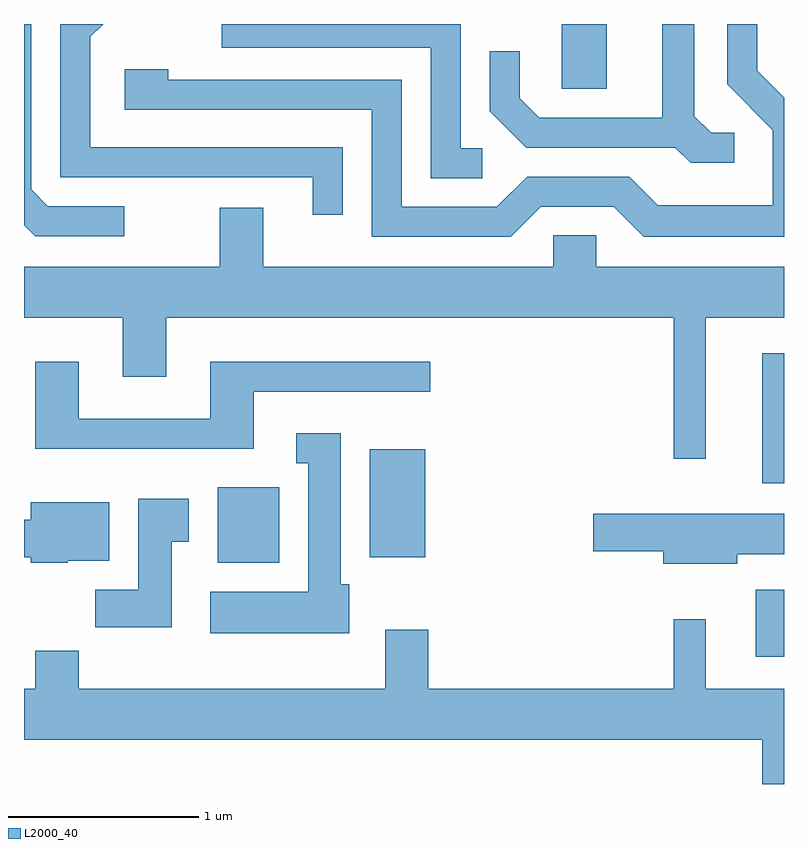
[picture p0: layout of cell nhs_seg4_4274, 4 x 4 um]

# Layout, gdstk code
import gdstk
lib = gdstk.Library(unit=1e-6, precision=1e-09)
def R(c, l, rs):  # rectangles x0, y0, x1, y1
    for r in rs: c.add(gdstk.rectangle(r[:2], r[2:], *l))
def P(c, l, *ps):  # polygons
    for p in ps: c.add(gdstk.Polygon(p, *l))
L2000_40 = (2000, 40)

nhs_seg4_4274 = lib.new_cell('nhs_seg4_4274')
R(nhs_seg4_4274, L2000_40, [(313.461,1370.651,313.611,1371.004), (310.631,1371.146,310.954,1371.544), (311.431,1371.176,311.724,1371.744), (313.496,1371.566,313.611,1372.248), (312.441,1373.641,312.679,1373.982)])
P(nhs_seg4_4274, L2000_40, [(312.023,1373.329),(311.909,1373.329),(311.909,1373.982),(310.653,1373.982),(310.653,1373.856),(311.751,1373.856),(311.751,1373.171),(312.023,1373.171)],
  [(312.332,1373.021),(312.714,1373.021),(312.874,1372.861),(313.611,1372.861),(313.611,1373.595),(313.469,1373.737),(313.469,1373.982),(313.311,1373.982),(313.311,1373.664),(313.551,1373.424),(313.551,1373.029),(312.947,1373.029),(312.797,1373.179),(312.259,1373.179),(312.099,1373.019),(311.599,1373.019),(311.599,1373.689),(310.369,1373.689),(310.369,1373.744),(310.141,1373.744),(310.141,1373.531),(311.441,1373.531),(311.441,1372.861),(312.172,1372.861)],
  [(310.138,1373.024),(309.737,1373.024),(309.649,1373.112),(309.649,1373.982),(309.611,1373.982),(309.611,1372.924),(309.669,1372.866),(310.138,1372.866)],
  [(311.289,1373.334),(309.959,1373.334),(309.959,1373.914),(310.028,1373.982),(309.801,1373.982),(309.801,1373.176),(311.131,1373.176),(311.131,1372.978),(311.289,1372.978)],
  [(313.348,1373.409),(313.227,1373.409),(313.139,1373.497),(313.139,1373.982),(312.971,1373.982),(312.971,1373.489),(312.322,1373.489),(312.219,1373.592),(312.219,1373.838),(312.061,1373.838),(312.061,1373.524),(312.254,1373.331),(313.039,1373.331),(313.119,1373.251),(313.348,1373.251)],
  [(313.199,1372.436),(313.611,1372.436),(313.611,1372.704),(312.624,1372.704),(312.624,1372.869),(312.396,1372.869),(312.396,1372.704),(310.869,1372.704),(310.869,1373.014),(310.641,1373.014),(310.641,1372.704),(309.611,1372.704),(309.611,1372.436),(310.131,1372.436),(310.131,1372.126),(310.359,1372.126),(310.359,1372.436),(313.031,1372.436),(313.031,1371.693),(313.199,1371.693)],
  [(310.819,1372.046),(311.748,1372.046),(311.748,1372.204),(310.591,1372.204),(310.591,1371.904),(309.899,1371.904),(309.899,1372.204),(309.671,1372.204),(309.671,1371.746),(310.819,1371.746)],
  [(311.324,1371.034),(311.279,1371.034),(311.279,1371.829),(311.043,1371.829),(311.043,1371.671),(311.106,1371.671),(311.106,1370.994),(310.591,1370.994),(310.591,1370.776),(311.324,1370.776)],
  [(310.389,1371.256),(310.479,1371.256),(310.479,1371.484),(310.211,1371.484),(310.211,1371.004),(309.986,1371.004),(309.986,1370.806),(310.389,1370.806)],
  [(309.84,1371.156),(310.059,1371.156),(310.059,1371.464),(309.646,1371.464),(309.646,1371.374),(309.611,1371.374),(309.611,1371.176),(309.646,1371.176),(309.646,1371.146),(309.84,1371.146)],
  [(313.364,1371.191),(313.611,1371.191),(313.611,1371.404),(312.606,1371.404),(312.606,1371.206),(312.976,1371.206),(312.976,1371.141),(313.364,1371.141)],
  [(313.611,1370.484),(313.199,1370.484),(313.199,1370.848),(313.031,1370.848),(313.031,1370.484),(311.739,1370.484),(311.739,1370.794),(311.511,1370.794),(311.511,1370.484),(309.899,1370.484),(309.899,1370.684),(309.671,1370.684),(309.671,1370.484),(309.611,1370.484),(309.611,1370.216),(313.496,1370.216),(313.496,1369.982),(313.611,1369.982)])

lib.write_gds('nhs_seg4_4274.gds')
